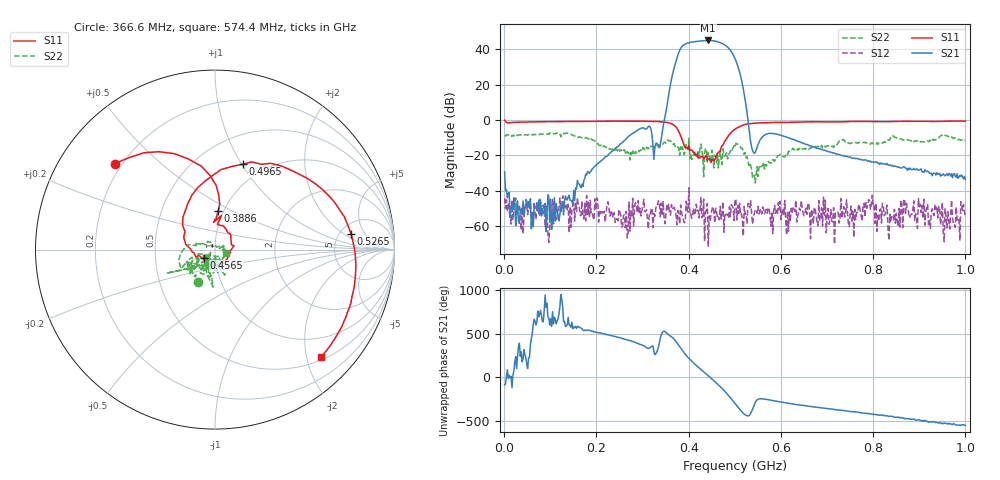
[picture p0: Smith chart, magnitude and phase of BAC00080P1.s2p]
!measured: 2026-10-27T15:15:17
!cal_instance: BBtestOct27
!cal_created: 2026-10-27T14:45
!cal_file: BBtesting.cal
!port1_delay_ps: -58.63
!port2_delay_ps: -59.31
!host: dhcp-10-250-247-203.harvard.edu
! Created with skrf 2.1.0 (http://scikit-rf.org).
# Hz S RI R 50.0
!freq ReS11 ImS11 ReS21 ImS21 ReS12 ImS12 ReS22 ImS22
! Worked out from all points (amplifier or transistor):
!   501 points, 1 MHz to 1 GHz, reference 50 ohm
!   highest |S21| = 45.0 dB at 442.6 MHz (marker M1)
!   |S21| within 3 dB of that: 387.2 MHz to 481 MHz (93.75 MHz wide, 21.6 % of centre)
!   unconditionally stable (mu >= 1): start of sweep to 399.8 MHz; 401.2 MHz to 426.1 MHz; 432.6 MHz to end of sweep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
!   at 166.8 MHz: K = 3244.01, MAG = -30.3 dB, |S12| = -53.9 dB
!   at 500.5 MHz: K = 1.28, MAG = 36.5 dB, |S12| = -44.7 dB
!   at 1 GHz: K = 1763.16, MAG = -25.0 dB, |S12| = -54.6 dB
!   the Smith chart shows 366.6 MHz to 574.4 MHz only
!   S11 on the Smith chart (normalised r, x): 366.6 MHz: 0.17, +0.36; 388.6 MHz: 0.94, +0.43; 456.5 MHz: 0.88, -0.08; 496.5 MHz: 0.80, +1.01; 526.5 MHz: 6.28, +2.67; 574.4 MHz: 0.55, -2.27
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1000000  -0.4077 0.8997  0.00245 -0.0339  -0.00219 -0.0057  0.3694 -0.0545
1.68832e8  0.4774 -0.7726  -0.0148 -0.00409  0.00434 -0.00262  -0.0152 -0.3183
3.34666e8  -0.8417 -0.323  0.1708 -0.0297  0.0052 -6.24e-05  0.0337 -0.1844
3.66634e8  -0.5573 0.4794  0.8509 23.7  -0.00317 -0.000853  -0.0939 -0.1822
3.8062e8  -0.0268 0.412  92.48 -16.83  -0.000318 -0.0011  -0.084 -0.0502
3.88612e8  0.0183 0.2151  49.69 -119.8  0.00137 -0.000655  -0.098 -0.0815
3.96604e8  -0.00229 0.1602  -74.2 -128.3  0.00205 -0.00227  -0.1251 -0.1086
4.02598e8  0.0137 0.1416  -141.1 -68.22  -0.00128 0.00166  -0.0238 -0.0768
4.1059e8  0.0718 0.095  -156.2 40.95  -0.00241 -0.00216  -0.00844 -0.1075
4.26574e8  0.0448 -0.0794  -1.462 171  -0.00139 -0.00628  -0.0103 -0.2083
4.42558e8  -0.0328 -0.0711  168.8 53.57  8.79e-05 -0.000254  -0.07 -0.0971
4.56544e8  -0.0603 -0.0465  113.4 -126.8  -0.000916 -0.000807  -0.0239 -0.0993
4.66534e8  -0.1269 -0.014  -20.9 -156.3  -0.00122 -0.000891  -0.0129 -0.0957
4.78522e8  -0.1787 0.1798  -124.2 -42.59  0.000804 0.0021  0.0112 -0.0925
4.88512e8  -0.052 0.3839  -76.8 65.98  0.00281 -0.00213  -0.0507 -0.1009
4.96504e8  0.1556 0.4762  2.827 70.27  0.0031 0.000832  -0.1442 -0.0829
5.005e8  0.259 0.4752  26.32 47.81  0.00452 -0.00368  -0.1558 -0.0662
5.26474e8  0.758 0.0889  0.289 -1.61  -0.000742 -0.000864  -0.0834 0.039
5.74426e8  0.5893 -0.6004  -0.0838 0.4084  -0.00185 0.00238  0.0595 -0.0202
6.68332e8  -0.015 -0.8841  0.1616 0.0679  -0.000625 -0.0022  0.0403 -0.1521
8.34166e8  -0.6428 -0.6265  0.00126 -0.0519  -0.000384 -7.63e-05  -0.1539 -0.2134
1e9  -0.9028 -0.1963  -0.0203 0.00409  0.00154 -0.00105  -0.2166 -0.1609
